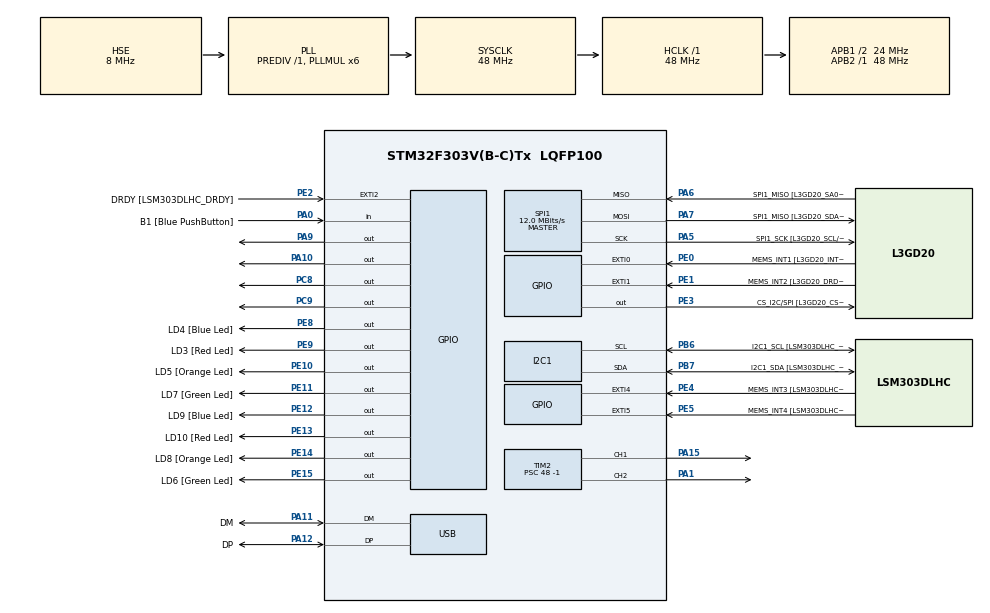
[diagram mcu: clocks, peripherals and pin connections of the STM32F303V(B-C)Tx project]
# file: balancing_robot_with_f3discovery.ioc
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I2C1.Timing=0x00201D2B
I2C1.Timing-I2C=0x2000090E
Mcu.Family=STM32F3
Mcu.Name=STM32F303V(B-C)Tx
Mcu.Package=LQFP100
NVIC.PriorityGroup=NVIC_PRIORITYGROUP_0
PA0.GPIO_Label=B1 [Blue PushButton]
PA0.Signal=GPIO_Input
PA1.Signal=S_TIM2_CH2
PA10.Signal=GPIO_Output
PA11.GPIO_Label=DM
PA11.Mode=Device
PA11.Signal=USB_DM
PA12.GPIO_Label=DP
PA12.Mode=Device
PA12.Signal=USB_DP
PA13.GPIO_Label=SWDIO
PA13.Mode=Serial_Wire
PA13.Signal=SYS_JTMS-SWDIO
PA14.GPIO_Label=SWCLK
PA14.Mode=Serial_Wire
PA14.Signal=SYS_JTCK-SWCLK
PA15.Signal=S_TIM2_CH1_ETR
PA5.GPIO_Label=SPI1_SCK [L3GD20_SCL/SPC]
PA5.Mode=Full_Duplex_Master
PA5.Signal=SPI1_SCK
PA6.GPIO_Label=SPI1_MISO [L3GD20_SA0/SDO]
PA6.Mode=Full_Duplex_Master
PA6.Signal=SPI1_MISO
PA7.GPIO_Label=SPI1_MISO [L3GD20_SDA/SDI/SDO]
PA7.Mode=Full_Duplex_Master
PA7.Signal=SPI1_MOSI
PA9.Signal=GPIO_Output
PB3.GPIO_Label=SWO
PB3.Signal=SYS_JTDO-TRACESWO
PB6.GPIO_Label=I2C1_SCL [LSM303DLHC_SCL]
PB6.GPIO_Pu=GPIO_PULLUP
PB6.Mode=I2C
PB6.Signal=I2C1_SCL
PB7.GPIO_Label=I2C1_SDA [LSM303DLHC_SDA]
PB7.GPIO_Pu=GPIO_PULLUP
PB7.Mode=I2C
PB7.Signal=I2C1_SDA
PC14-OSC32_IN.GPIO_Label=OSC32_IN
PC14-OSC32_IN.Signal=RCC_OSC32_IN
PC15-OSC32_OUT.GPIO_Label=OSC32_OUT
PC15-OSC32_OUT.Signal=RCC_OSC32_OUT
PC8.Signal=GPIO_Output
PC9.Signal=GPIO_Output
PE0.GPIO_Label=MEMS_INT1 [L3GD20_INT1]
PE0.GPIO_ModeDefaultEXTI=GPIO_MODE_EVT_RISING
PE0.Signal=GPXTI0
PE1.GPIO_Label=MEMS_INT2 [L3GD20_DRDY/INT2]
PE1.GPIO_ModeDefaultEXTI=GPIO_MODE_EVT_RISING
PE1.Signal=GPXTI1
PE10.GPIO_Label=LD5 [Orange Led]
PE10.Signal=GPIO_Output
PE11.GPIO_Label=LD7 [Green Led]
PE11.Signal=GPIO_Output
PE12.GPIO_Label=LD9 [Blue Led]
PE12.Signal=GPIO_Output
PE13.GPIO_Label=LD10 [Red Led]
PE13.Signal=GPIO_Output
PE14.GPIO_Label=LD8 [Orange Led]
PE14.Signal=GPIO_Output
PE15.GPIO_Label=LD6 [Green Led]
PE15.Signal=GPIO_Output
PE2.GPIO_Label=DRDY [LSM303DLHC_DRDY]
PE2.GPIO_ModeDefaultEXTI=GPIO_MODE_EVT_RISING
PE2.Signal=GPXTI2
PE3.GPIO_Label=CS_I2C/SPI [L3GD20_CS_I2C/SPI]
PE3.Signal=GPIO_Output
PE4.GPIO_Label=MEMS_INT3 [LSM303DLHC_INT1]
PE4.GPIO_ModeDefaultEXTI=GPIO_MODE_EVT_RISING
PE4.Signal=GPXTI4
PE5.GPIO_Label=MEMS_INT4 [LSM303DLHC_INT2]
PE5.GPIO_ModeDefaultEXTI=GPIO_MODE_EVT_RISING
PE5.Signal=GPXTI5
PE8.GPIO_Label=LD4 [Blue Led]
PE8.Signal=GPIO_Output
PE9.GPIO_Label=LD3 [Red Led]
PE9.Signal=GPIO_Output
PF0-OSC_IN.GPIO_Label=OSC_IN
PF0-OSC_IN.Mode=HSE-External-Clock-Source
PF0-OSC_IN.Signal=RCC_OSC_IN
PF1-OSC_OUT.GPIO_Label=OSC_OUT
PF1-OSC_OUT.Signal=RCC_OSC_OUT
ProjectManager.HeapSize=0x200
ProjectManager.StackSize=0x400
ProjectManager.TargetToolchain=STM32CubeIDE
RCC.AHBFreq_Value=48000000
RCC.APB1CLKDivider=RCC_HCLK_DIV2
RCC.APB1Freq_Value=24000000
RCC.APB1TimFreq_Value=48000000
RCC.APB2Freq_Value=48000000
RCC.APB2TimFreq_Value=48000000
RCC.CortexFreq_Value=48000000
RCC.HCLKFreq_Value=48000000
RCC.HSE_VALUE=8000000
RCC.HSI_VALUE=8000000
RCC.LSE_VALUE=32768
RCC.PLLMUL=RCC_PLL_MUL6
RCC.SYSCLKFreq_VALUE=48000000
RCC.SYSCLKSourceVirtual=RCC_SYSCLKSOURCE_PLLCLK
RCC.USBFreq_Value=48000000
SH.S_TIM2_CH1_ETR.0=TIM2_CH1,PWM Generation1 CH1
SH.S_TIM2_CH2.0=TIM2_CH2,PWM Generation2 CH2
SPI1.BaudRatePrescaler=SPI_BAUDRATEPRESCALER_4
SPI1.BaudRatePrescaler-Full_Duplex_Master=SPI_BAUDRATEPRESCALER_2
SPI1.CalculateBaudRate=12.0 MBits/s
SPI1.CalculateBaudRate-Full_Duplex_Master=24.0 MBits/s
SPI1.Direction=SPI_DIRECTION_2LINES
SPI1.Mode=SPI_MODE_MASTER
SPI1.Mode-Full_Duplex_Master=SPI_MODE_MASTER
SPI1.VirtualType=VM_MASTER
TIM2.AutoReloadPreload=TIM_AUTORELOAD_PRELOAD_ENABLE
TIM2.Channel-PWM\ Generation1\ CH1=TIM_CHANNEL_1
TIM2.Channel-PWM\ Generation2\ CH2=TIM_CHANNEL_2
TIM2.Period=1000
TIM2.Prescaler=48 -1
VP_TIM2_VS_ClockSourceINT.Mode=Internal
board=STM32F3DISCOVERY

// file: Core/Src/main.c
/* USER CODE BEGIN Header */
/**
 ******************************************************************************
 * @file           : main.c
 * @brief          : Main program body
 ******************************************************************************
 * @attention
 *
 * Copyright (c) 2025 STMicroelectronics.
 * All rights reserved.
 *
 * This software is licensed under terms that can be found in the LICENSE file
 * in the root directory of this software component.
 * If no LICENSE file comes with this software, it is provided AS-IS.
 *
 ******************************************************************************
 */
#define _USE_MATH_DEFINES
#include <math.h>
/* USER CODE END Header */
#include "main.h"

I2C_HandleTypeDef hi2c1;

SPI_HandleTypeDef hspi1;

TIM_HandleTypeDef htim2;

PCD_HandleTypeDef hpcd_USB_FS;

void SystemClock_Config(void);
static void MX_GPIO_Init(void);
static void MX_I2C1_Init(void);
static void MX_SPI1_Init(void);
static void MX_USB_PCD_Init(void);
static void MX_TIM2_Init(void);

/* USER CODE BEGIN 0 */
/*자이로,가속도 센서를 글로벌로 빼서 제어*/
static float gyro_buffer[3];
static int16_t acc_buffer[3] = { 0 };
typedef struct {
	float Kp;
	float Ki;
	float Kd;
	float prevError;
	float integral;
} PID_TypeDef;

PID_TypeDef pid = { .Kp = 30.0f, .Ki = 0.0f, .Kd = 2.0f, .prevError = 0.0f,
		.integral = 0.0f };
float g_PitchAngle = 0.0f;    // 현재 추정 Pitch 각도 (°)
float g_GyroRate = 0.0f;    // 자이로로 측정된 Pitch 각속도 (°/s)
float g_AccAngle = 0.0f;    // 가속도 센서로 계산한 Pitch 각도 (°)
float dt = 0.01f;   // 제어 주기 (단위: 초) -> 100Hz 가정
float alpha = 0.98f;   // Complementary Filter 상수Ï
#define RAD_TO_DEG (180.0f / (float)M_PI)

void IMU_Init(void);
void IMU_ReadData(void);
float PID_Compute(PID_TypeDef *pid, float setpoint, float current);
void MotorControl(float pidOutput);
/* USER CODE END 0 */

int main(void)
{

  /* MCU Configuration--------------------------------------------------------*/

  /* Reset of all peripherals, Initializes the Flash interface and the Systick. */
  HAL_Init();

  /* Configure the system clock */
  SystemClock_Config();

  /* Initialize all configured peripherals */
  MX_GPIO_Init();
  MX_I2C1_Init();
  MX_SPI1_Init();
  MX_USB_PCD_Init();
  MX_TIM2_Init();
  /* USER CODE BEGIN 2 */
	IMU_Init();

	/* --- 타이머 PWM 시작 (모터 제어용) --- */
	HAL_TIM_PWM_Start(&htim2, TIM_CHANNEL_1);  // 모터 right
	HAL_TIM_PWM_Start(&htim2, TIM_CHANNEL_2);  // 모터 left
  /* USER CODE END 2 */

  /* Infinite loop */
  /* USER CODE BEGIN WHILE */
	while (1) {
		/* (1) IMU 센서 데이터 읽기 */
		IMU_ReadData();

		/* (2) Complementary Filter로 Pitch 각도 추정 */
		// g_GyroRate (°/s), g_AccAngle (°)
		// 이전 각도: g_PitchAngle
		// dt: 제어 주기
		g_PitchAngle = alpha * (g_PitchAngle + g_GyroRate * dt)
				+ (1.0f - alpha) * g_AccAngle;

		/* (3) PID 계산 */
		// 목표 각도(=0°) 대비 현재 PitchAngle을 이용해 PID 출력 계산
		float pidOutput = PID_Compute(&pid, 0.0f, g_PitchAngle);

		/* (4) 모터 PWM 출력 */
		MotorControl(pidOutput);

		/* (5) 주기 맞추기 (Delay 또는 RTOS 태스크 주기로 대체 가능) */
		HAL_Delay((uint32_t) (dt * 1000));
    /* USER CODE END WHILE */

	}
}

void SystemClock_Config(void)
{
  RCC_OscInitTypeDef RCC_OscInitStruct = {0};
  RCC_ClkInitTypeDef RCC_ClkInitStruct = {0};
  RCC_PeriphCLKInitTypeDef PeriphClkInit = {0};

  /** Initializes the RCC Oscillators according to the specified parameters
  * in the RCC_OscInitTypeDef structure.
  */
  RCC_OscInitStruct.OscillatorType = RCC_OSCILLATORTYPE_HSI|RCC_OSCILLATORTYPE_HSE;
  RCC_OscInitStruct.HSEState = RCC_HSE_BYPASS;
  RCC_OscInitStruct.HSEPredivValue = RCC_HSE_PREDIV_DIV1;
  RCC_OscInitStruct.HSIState = RCC_HSI_ON;
  RCC_OscInitStruct.HSICalibrationValue = RCC_HSICALIBRATION_DEFAULT;
  RCC_OscInitStruct.PLL.PLLState = RCC_PLL_ON;
  RCC_OscInitStruct.PLL.PLLSource = RCC_PLLSOURCE_HSE;
  RCC_OscInitStruct.PLL.PLLMUL = RCC_PLL_MUL6;
  if (HAL_RCC_OscConfig(&RCC_OscInitStruct) != HAL_OK)
  {
    Error_Handler();
  }

  /** Initializes the CPU, AHB and APB buses clocks
  */
  RCC_ClkInitStruct.ClockType = RCC_CLOCKTYPE_HCLK|RCC_CLOCKTYPE_SYSCLK
                              |RCC_CLOCKTYPE_PCLK1|RCC_CLOCKTYPE_PCLK2;
  RCC_ClkInitStruct.SYSCLKSource = RCC_SYSCLKSOURCE_PLLCLK;
  RCC_ClkInitStruct.AHBCLKDivider = RCC_SYSCLK_DIV1;
  RCC_ClkInitStruct.APB1CLKDivider = RCC_HCLK_DIV2;
  RCC_ClkInitStruct.APB2CLKDivider = RCC_HCLK_DIV1;

  if (HAL_RCC_ClockConfig(&RCC_ClkInitStruct, FLASH_LATENCY_1) != HAL_OK)
  {
    Error_Handler();
  }
  PeriphClkInit.PeriphClockSelection = RCC_PERIPHCLK_USB|RCC_PERIPHCLK_I2C1;
  PeriphClkInit.I2c1ClockSelection = RCC_I2C1CLKSOURCE_HSI;
  PeriphClkInit.USBClockSelection = RCC_USBCLKSOURCE_PLL;
  if (HAL_RCCEx_PeriphCLKConfig(&PeriphClkInit) != HAL_OK)
  {
    Error_Handler();
  }
}

static void MX_I2C1_Init(void)
{

  hi2c1.Instance = I2C1;
  hi2c1.Init.Timing = 0x00201D2B;
  hi2c1.Init.OwnAddress1 = 0;
  hi2c1.Init.AddressingMode = I2C_ADDRESSINGMODE_7BIT;
  hi2c1.Init.DualAddressMode = I2C_DUALADDRESS_DISABLE;
  hi2c1.Init.OwnAddress2 = 0;
  hi2c1.Init.OwnAddress2Masks = I2C_OA2_NOMASK;
  hi2c1.Init.GeneralCallMode = I2C_GENERALCALL_DISABLE;
  hi2c1.Init.NoStretchMode = I2C_NOSTRETCH_DISABLE;
  if (HAL_I2C_Init(&hi2c1) != HAL_OK)
  {
    Error_Handler();
  }

  /** Configure Analogue filter
  */
  if (HAL_I2CEx_ConfigAnalogFilter(&hi2c1, I2C_ANALOGFILTER_ENABLE) != HAL_OK)
  {
    Error_Handler();
  }

  /** Configure Digital filter
  */
  if (HAL_I2CEx_ConfigDigitalFilter(&hi2c1, 0) != HAL_OK)
  {
    Error_Handler();
  }

}

static void MX_SPI1_Init(void)
{

  /* SPI1 parameter configuration*/
  hspi1.Instance = SPI1;
  hspi1.Init.Mode = SPI_MODE_MASTER;
  hspi1.Init.Direction = SPI_DIRECTION_2LINES;
  hspi1.Init.DataSize = SPI_DATASIZE_4BIT;
  hspi1.Init.CLKPolarity = SPI_POLARITY_LOW;
  hspi1.Init.CLKPhase = SPI_PHASE_1EDGE;
  hspi1.Init.NSS = SPI_NSS_SOFT;
  hspi1.Init.BaudRatePrescaler = SPI_BAUDRATEPRESCALER_4;
  hspi1.Init.FirstBit = SPI_FIRSTBIT_MSB;
  hspi1.Init.TIMode = SPI_TIMODE_DISABLE;
  hspi1.Init.CRCCalculation = SPI_CRCCALCULATION_DISABLE;
  hspi1.Init.CRCPolynomial = 7;
  hspi1.Init.CRCLength = SPI_CRC_LENGTH_DATASIZE;
  hspi1.Init.NSSPMode = SPI_NSS_PULSE_ENABLE;
  if (HAL_SPI_Init(&hspi1) != HAL_OK)
  {
    Error_Handler();
  }

}

static void MX_TIM2_Init(void)
{

  TIM_ClockConfigTypeDef sClockSourceConfig = {0};
  TIM_MasterConfigTypeDef sMasterConfig = {0};
  TIM_OC_InitTypeDef sConfigOC = {0};

  htim2.Instance = TIM2;
  htim2.Init.Prescaler = 48 -1;
  htim2.Init.CounterMode = TIM_COUNTERMODE_UP;
  htim2.Init.Period = 1000;
  htim2.Init.ClockDivision = TIM_CLOCKDIVISION_DIV1;
  htim2.Init.AutoReloadPreload = TIM_AUTORELOAD_PRELOAD_ENABLE;
  if (HAL_TIM_Base_Init(&htim2) != HAL_OK)
  {
    Error_Handler();
  }
  sClockSourceConfig.ClockSource = TIM_CLOCKSOURCE_INTERNAL;
  if (HAL_TIM_ConfigClockSource(&htim2, &sClockSourceConfig) != HAL_OK)
  {
    Error_Handler();
  }
  if (HAL_TIM_PWM_Init(&htim2) != HAL_OK)
  {
    Error_Handler();
  }
  sMasterConfig.MasterOutputTrigger = TIM_TRGO_RESET;
  sMasterConfig.MasterSlaveMode = TIM_MASTERSLAVEMODE_DISABLE;
  if (HAL_TIMEx_MasterConfigSynchronization(&htim2, &sMasterConfig) != HAL_OK)
  {
    Error_Handler();
  }
  sConfigOC.OCMode = TIM_OCMODE_PWM1;
  sConfigOC.Pulse = 0;
  sConfigOC.OCPolarity = TIM_OCPOLARITY_HIGH;
  sConfigOC.OCFastMode = TIM_OCFAST_DISABLE;
  if (HAL_TIM_PWM_ConfigChannel(&htim2, &sConfigOC, TIM_CHANNEL_1) != HAL_OK)
  {
    Error_Handler();
  }
  if (HAL_TIM_PWM_ConfigChannel(&htim2, &sConfigOC, TIM_CHANNEL_2) != HAL_OK)
  {
    Error_Handler();
  }
  HAL_TIM_MspPostInit(&htim2);

}

static void MX_USB_PCD_Init(void)
{

  hpcd_USB_FS.Instance = USB;
  hpcd_USB_FS.Init.dev_endpoints = 8;
  hpcd_USB_FS.Init.speed = PCD_SPEED_FULL;
  hpcd_USB_FS.Init.phy_itface = PCD_PHY_EMBEDDED;
  hpcd_USB_FS.Init.low_power_enable = DISABLE;
  hpcd_USB_FS.Init.battery_charging_enable = DISABLE;
  if (HAL_PCD_Init(&hpcd_USB_FS) != HAL_OK)
  {
    Error_Handler();
  }

}

static void MX_GPIO_Init(void)
{
  GPIO_InitTypeDef GPIO_InitStruct = {0};

  /* GPIO Ports Clock Enable */
  __HAL_RCC_GPIOE_CLK_ENABLE();
  __HAL_RCC_GPIOC_CLK_ENABLE();
  __HAL_RCC_GPIOF_CLK_ENABLE();
  __HAL_RCC_GPIOA_CLK_ENABLE();
  __HAL_RCC_GPIOB_CLK_ENABLE();

  /*Configure GPIO pin Output Level */
  HAL_GPIO_WritePin(GPIOE, CS_I2C_SPI_Pin|LD4_Pin|LD3_Pin|LD5_Pin
                          |LD7_Pin|LD9_Pin|LD10_Pin|LD8_Pin
                          |LD6_Pin, GPIO_PIN_RESET);

  /*Configure GPIO pin Output Level */
  HAL_GPIO_WritePin(GPIOC, GPIO_PIN_8|GPIO_PIN_9, GPIO_PIN_RESET);

  /*Configure GPIO pin Output Level */
  HAL_GPIO_WritePin(GPIOA, GPIO_PIN_9|GPIO_PIN_10, GPIO_PIN_RESET);

  /*Configure GPIO pins : DRDY_Pin MEMS_INT3_Pin MEMS_INT4_Pin MEMS_INT1_Pin
                           MEMS_INT2_Pin */
  GPIO_InitStruct.Pin = DRDY_Pin|MEMS_INT3_Pin|MEMS_INT4_Pin|MEMS_INT1_Pin
                          |MEMS_INT2_Pin;
  GPIO_InitStruct.Mode = GPIO_MODE_EVT_RISING;
  GPIO_InitStruct.Pull = GPIO_NOPULL;
  HAL_GPIO_Init(GPIOE, &GPIO_InitStruct);

  /*Configure GPIO pins : CS_I2C_SPI_Pin LD4_Pin LD3_Pin LD5_Pin
                           LD7_Pin LD9_Pin LD10_Pin LD8_Pin
                           LD6_Pin */
  GPIO_InitStruct.Pin = CS_I2C_SPI_Pin|LD4_Pin|LD3_Pin|LD5_Pin
                          |LD7_Pin|LD9_Pin|LD10_Pin|LD8_Pin
                          |LD6_Pin;
  GPIO_InitStruct.Mode = GPIO_MODE_OUTPUT_PP;
  GPIO_InitStruct.Pull = GPIO_NOPULL;
  GPIO_InitStruct.Speed = GPIO_SPEED_FREQ_LOW;
  HAL_GPIO_Init(GPIOE, &GPIO_InitStruct);

  /*Configure GPIO pin : B1_Pin */
  GPIO_InitStruct.Pin = B1_Pin;
  GPIO_InitStruct.Mode = GPIO_MODE_INPUT;
  GPIO_InitStruct.Pull = GPIO_NOPULL;
  HAL_GPIO_Init(B1_GPIO_Port, &GPIO_InitStruct);

  /*Configure GPIO pins : PC8 PC9 */
  GPIO_InitStruct.Pin = GPIO_PIN_8|GPIO_PIN_9;
  GPIO_InitStruct.Mode = GPIO_MODE_OUTPUT_PP;
  GPIO_InitStruct.Pull = GPIO_NOPULL;
  GPIO_InitStruct.Speed = GPIO_SPEED_FREQ_LOW;
  HAL_GPIO_Init(GPIOC, &GPIO_InitStruct);

  /*Configure GPIO pins : PA9 PA10 */
  GPIO_InitStruct.Pin = GPIO_PIN_9|GPIO_PIN_10;
  GPIO_InitStruct.Mode = GPIO_MODE_OUTPUT_PP;
  GPIO_InitStruct.Pull = GPIO_NOPULL;
  GPIO_InitStruct.Speed = GPIO_SPEED_FREQ_LOW;
  HAL_GPIO_Init(GPIOA, &GPIO_InitStruct);

}

/* USER CODE BEGIN 4 */
void IMU_Init(void) {
	// 센서 레지스터 초기화 (I2C/SPI)
	// 예: CTRL_REG1, CTRL_REG4 등
	// 아래는 예시이므로 실제 센서에 맞게 수정해야 함
	// ...
	//	기울기, 가속도 센서 초기화
	if (BSP_GYRO_Init() != HAL_OK) {
		/* Initialization Error */
		Error_Handler();
	}
	if (BSP_ACCELERO_Init() != HAL_OK) {
		/* Initialization Error */
		Error_Handler();
	}
}

void IMU_ReadData(void) {
	// 1) 자이로 raw data 읽기 (Pitch 축에 해당하는 값) -> dPS(°/s) 변환
	// 2) 가속도 raw data 읽기 -> 중력가속도로부터 Pitch 각도 계산
	//   g_AccAngle = atan2f(Ax, Az) * (180.0f / M_PI);  // 예시
	// 3) g_GyroRate = 자이로 값 (°/s)로 변환
	// ...
	BSP_GYRO_GetXYZ(gyro_buffer);
	BSP_ACCELERO_GetXYZ(acc_buffer);
	g_GyroRate = gyro_buffer[0];

	float pitchAngle = atanf(acc_buffer[0] / acc_buffer[2]) * RAD_TO_DEG;

	g_AccAngle = pitchAngle;

}
/* --------------------------------------------------
 * PID 제어 함수
 *    setpoint  : 목표값 (여기서는 0°)
 *    current   : 현재 측정값 (여기서는 Pitch 각도)
 * -------------------------------------------------- */
float PID_Compute(PID_TypeDef *pid, float setpoint, float current) {
	float error = setpoint - current;
	pid->integral += error * dt;
	float derivative = (error - pid->prevError) / dt;
	pid->prevError = error;

	float output = pid->Kp * error + pid->Ki * pid->integral
			+ pid->Kd * derivative;
	return output;
}
/* --------------------------------------------------
 * 모터 제어 함수 (양쪽 모터 동일한 출력 가정)
 *    pidOutput : PID 제어기로부터 나온 값
 *
 *    - pidOutput > 0 이면 앞으로 진행 (Pitch가 앞으로 기울었다 → 앞으로 돌려야 보정)
 *    - pidOutput < 0 이면 뒤로 진행
 *    - 모터별 회전 방향 설정 및 PWM 듀티 결정
 *
 *    left motor pin map in3:PC9,in4:PC8 pwm ch:2
 *    right motor pin map in1:PA9, in2: PA10 pwm ch:1
 *
 *    각 모터 드라이버의 H-브리지에 따라
 *    실제 High/Low, PWM 채널을 조정하세요.
 * -------------------------------------------------- */
void MotorControl(float pidOutput) {
	/* 1) 출력 제한 (클리핑) */
	if (pidOutput > 500.0f)
		pidOutput = 500.0f;
	if (pidOutput < -500.0f)
		pidOutput = -500.0f;

	/* 2) 모터 속도 및 방향 결정 */
	float duty = fabsf(pidOutput);  // 속도 크기
	float maxDuty = 1000.0f;        // 예: 최대 1000을 듀티 100%라고 가정

	/* 듀티비를 타이머 CCR 레지스터에 매핑 (예: 0~1000 → 0~100%) */
	uint16_t pwmValue = (uint16_t) (duty / maxDuty
			* __HAL_TIM_GET_AUTORELOAD(&htim2));

	if (pidOutput > 0) {
		// 예: 모터 A, B 모두 Forward 세팅
		// TIM_CHANNEL_1 (모터 A PWM), TIM_CHANNEL_2 (모터 B PWM)
		// 방향제어용 GPIO도 설정 필요(Forward/Reverse)
		// left
		HAL_GPIO_WritePin(GPIOC, GPIO_PIN_9, GPIO_PIN_SET);
		HAL_GPIO_WritePin(GPIOC, GPIO_PIN_8, GPIO_PIN_RESET);
		__HAL_TIM_SET_COMPARE(&htim2, TIM_CHANNEL_2, pwmValue);
		// right
		HAL_GPIO_WritePin(GPIOA, GPIO_PIN_9, GPIO_PIN_SET);
		HAL_GPIO_WritePin(GPIOA, GPIO_PIN_10, GPIO_PIN_RESET);
		__HAL_TIM_SET_COMPARE(&htim2, TIM_CHANNEL_1, pwmValue);
	} else {
		// Reverse
		// left
		HAL_GPIO_WritePin(GPIOC, GPIO_PIN_9, GPIO_PIN_RESET);
		HAL_GPIO_WritePin(GPIOC, GPIO_PIN_8, GPIO_PIN_SET);
		__HAL_TIM_SET_COMPARE(&htim2, TIM_CHANNEL_2, pwmValue);
		// right
		HAL_GPIO_WritePin(GPIOA, GPIO_PIN_9, GPIO_PIN_RESET);
		HAL_GPIO_WritePin(GPIOA, GPIO_PIN_10, GPIO_PIN_SET);
		__HAL_TIM_SET_COMPARE(&htim2, TIM_CHANNEL_1, pwmValue);
		// GPIO_WritePin(MOTOR_A_DIR, GPIO_PIN_RESET); // 등등
		// GPIO_WritePin(MOTOR_B_DIR, GPIO_PIN_RESET);
	}
}

/* USER CODE END 4 */

void Error_Handler(void)
{
	__disable_irq();
	while (1) {
	}
}
